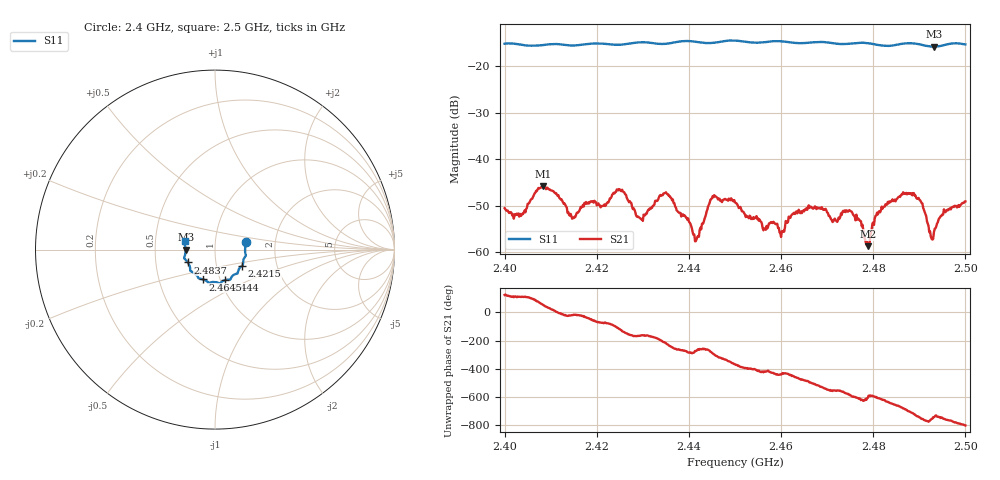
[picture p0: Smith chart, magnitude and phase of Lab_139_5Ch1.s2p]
# Hz S RI R 50
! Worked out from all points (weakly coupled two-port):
!   601 points, 2.4 GHz to 2.5 GHz, reference 50 ohm
!   highest |S21| = -45.85 dB at 2.4083 GHz (marker M1); lowest = -58.8 dB at 2.4788 GHz (marker M2)
!   lowest |S11| = -15.7 dB at 2.4932 GHz (marker M3), VSWR 1.39, Z = 35.9 - j0.06 ohm
!   |S11| at or under -10 dB: start of sweep to end of sweep
!   S12 and S22 are empty: the file has one direction only
!   S11 on the Smith chart (normalised r, x): 2.4 GHz: 1.41, +0.12; 2.4215 GHz: 1.33, -0.25; 2.444 GHz: 1.06, -0.37; 2.4645 GHz: 0.83, -0.29; 2.4837 GHz: 0.73, -0.11; 2.5 GHz: 0.71, +0.07
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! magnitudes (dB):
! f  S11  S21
! 2.4 GHz  -15.1  -50.6
! 2.4037 GHz  -15.3  -52.1
! 2.4083 GHz  -15.4  -45.8
! 2.4145 GHz  -15.5  -52.3
! 2.4167 GHz  -15.3  -50.4
! 2.4215 GHz  -15.1  -50.0
! 2.4253 GHz  -15.3  -46.9
! 2.4295 GHz  -14.8  -52.8
! 2.4333 GHz  -15.1  -48.7
! 2.4417 GHz  -14.7  -57.3
! 2.444 GHz  -15.0  -50.9
! 2.45 GHz  -14.4  -49.3
! 2.4602 GHz  -14.6  -55.6
! 2.4645 GHz  -15.0  -51.6
! 2.4667 GHz  -14.8  -50.4
! 2.4752 GHz  -15.1  -51.2
! 2.4788 GHz  -15.0  -58.8
! 2.4833 GHz  -15.6  -49.5
! 2.4837 GHz  -15.5  -49.3
! 2.4888 GHz  -15.0  -47.4
! 2.4932 GHz  -15.7  -55.8
! 2.5 GHz  -15.2  -49.1
